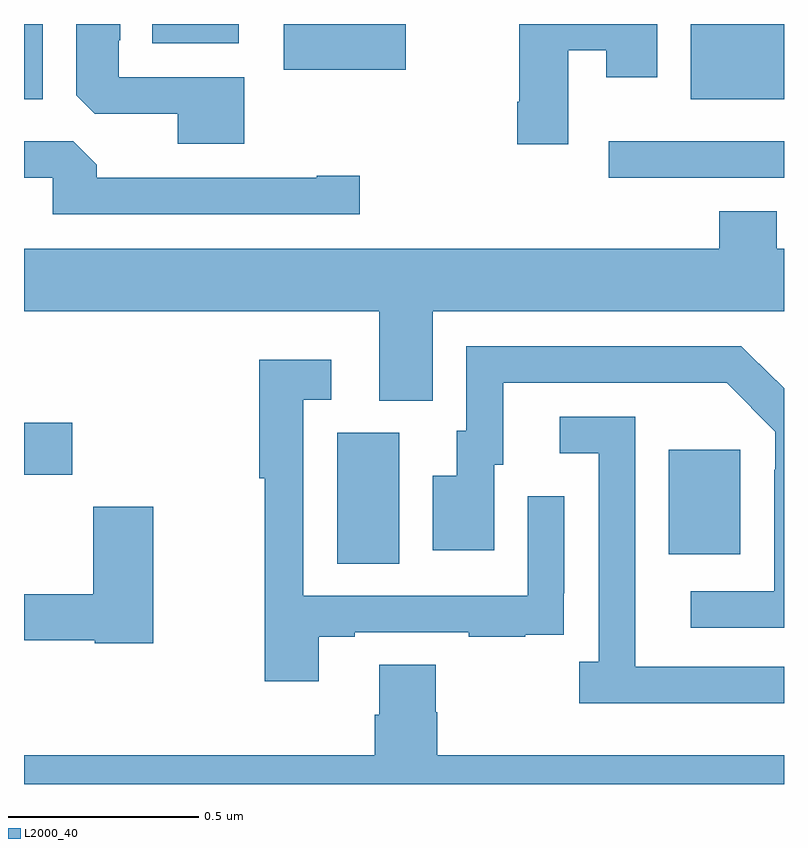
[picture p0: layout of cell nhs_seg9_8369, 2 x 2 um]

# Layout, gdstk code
import gdstk
lib = gdstk.Library(unit=1e-6, precision=1e-09)
def R(c, l, rs):  # rectangles x0, y0, x1, y1
    for r in rs: c.add(gdstk.rectangle(r[:2], r[2:], *l))
def P(c, l, *ps):  # polygons
    for p in ps: c.add(gdstk.Polygon(p, *l))
L2000_40 = (2000, 40)

nhs_seg9_8369 = lib.new_cell('nhs_seg9_8369')
R(nhs_seg9_8369, L2000_40, [(216.824,1205.08,216.988,1205.424), (217.697,1205.105,217.885,1205.38), (216,1205.314,216.127,1205.451), (217.539,1206.096,218,1206.192), (216,1206.302,216.049,1206.5), (217.754,1206.302,218,1206.5), (216.684,1206.38,217.004,1206.5), (216.338,1206.449,216.565,1206.5)])
P(nhs_seg9_8369, L2000_40, [(217.432,1206.431),(217.532,1206.431),(217.532,1206.36),(217.666,1206.36),(217.666,1206.5),(217.303,1206.5),(217.303,1206.295),(217.298,1206.295),(217.298,1206.183),(217.432,1206.183)],
  [(216.58,1206.36),(216.249,1206.36),(216.249,1206.457),(216.253,1206.457),(216.253,1206.5),(216.137,1206.5),(216.137,1206.313),(216.186,1206.264),(216.404,1206.264),(216.404,1206.185),(216.58,1206.185)],
  [(216.883,1206.101),(216.77,1206.101),(216.77,1206.096),(216.191,1206.096),(216.191,1206.13),(216.129,1206.192),(216,1206.192),(216,1206.096),(216.075,1206.096),(216.075,1206),(216.883,1206)],
  [(217.829,1206.007),(217.829,1205.908),(216,1205.908),(216,1205.744),(216.935,1205.744),(216.935,1205.509),(217.075,1205.509),(217.075,1205.744),(218,1205.744),(218,1205.908),(217.981,1205.908),(217.981,1206.007)],
  [(218,1205.542),(217.98,1205.562),(217.979,1205.561),(217.888,1205.652),(217.164,1205.652),(217.164,1205.43),(217.139,1205.43),(217.139,1205.311),(217.076,1205.311),(217.076,1205.115),(217.237,1205.115),(217.237,1205.34),(217.261,1205.34),(217.261,1205.556),(217.849,1205.556),(217.977,1205.427),(217.977,1205.327),(217.974,1205.327),(217.974,1205.007),(217.755,1205.007),(217.755,1204.911),(218,1204.911)],
  [(216.775,1204.887),(216.871,1204.887),(216.871,1204.899),(217.171,1204.899),(217.171,1204.887),(217.319,1204.887),(217.319,1204.893),(217.421,1204.893),(217.421,1205.002),(217.422,1205.002),(217.422,1205.257),(217.326,1205.257),(217.326,1204.995),(216.735,1204.995),(216.735,1205.511),(216.808,1205.511),(216.808,1205.617),(216.619,1205.617),(216.619,1205.304),(216.634,1205.304),(216.634,1204.77),(216.775,1204.77)],
  [(218,1204.809),(217.609,1204.809),(217.609,1205.009),(217.608,1205.009),(217.608,1205.466),(217.41,1205.466),(217.41,1205.37),(217.512,1205.37),(217.512,1204.822),(217.461,1204.822),(217.461,1204.712),(218,1204.712)],
  [(216.34,1205.23),(216.182,1205.23),(216.182,1204.999),(216,1204.999),(216,1204.878),(216.186,1204.878),(216.186,1204.87),(216.34,1204.87)],
  [(217.083,1204.689),(217.083,1204.814),(216.935,1204.814),(216.935,1204.682),(216.923,1204.682),(216.923,1204.576),(216,1204.576),(216,1204.5),(218,1204.5),(218,1204.576),(217.088,1204.576),(217.088,1204.689)])

lib.write_gds('nhs_seg9_8369.gds')
